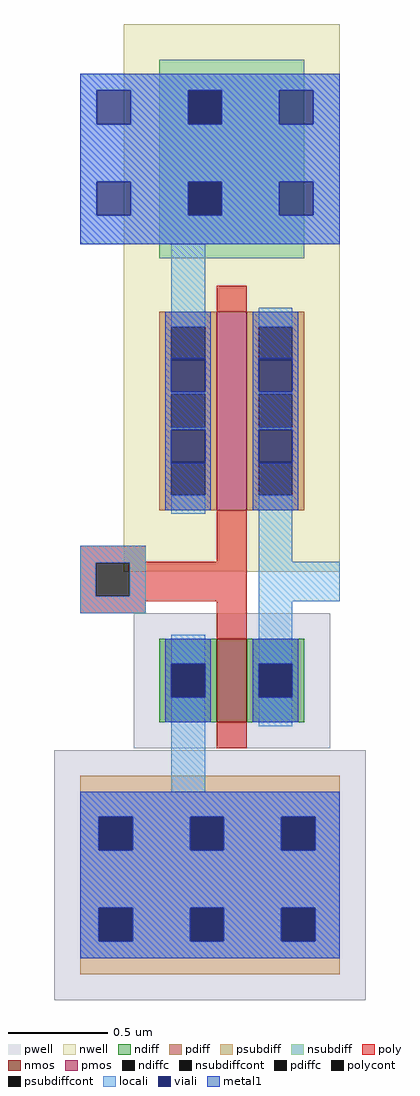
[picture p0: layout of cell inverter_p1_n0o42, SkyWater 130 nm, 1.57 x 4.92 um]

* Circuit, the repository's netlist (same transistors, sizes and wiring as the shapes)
* NGSPICE file created from inverter_p1_n0o42.ext - technology: sky130A

.subckt sky130_fd_pr__pfet_01v8_TH65V5 a_n73_n100# w_n109_n162# a_15_n100# a_n15_n126#
X0 a_15_n100# a_n15_n126# a_n73_n100# w_n109_n162# sky130_fd_pr__pfet_01v8 ad=0.29 pd=2.58 as=0.29 ps=2.58 w=1 l=0.15
.ends

.subckt sky130_fd_pr__nfet_01v8_PNPQML a_15_n42# a_n15_n68# a_n73_n42# VSUBS
X0 a_15_n42# a_n15_n68# a_n73_n42# VSUBS sky130_fd_pr__nfet_01v8 ad=0.1218 pd=1.42 as=0.1218 ps=1.42 w=0.42 l=0.15
.ends

.subckt inverter_p1_n0o42 VDPWR Vout Vin VGND
Xsky130_fd_pr__pfet_01v8_TH65V5_0 VDPWR VDPWR Vout Vin sky130_fd_pr__pfet_01v8_TH65V5
Xsky130_fd_pr__nfet_01v8_PNPQML_0 Vout Vin VGND VGND sky130_fd_pr__nfet_01v8_PNPQML
.ends

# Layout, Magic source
magic
tech sky130A
magscale 1 2
<< nwell >>
rect -36 502 182 730
rect -16 478 152 502
rect 12 444 46 478
<< pwell >>
rect -106 -254 208 -2
<< psubdiff >>
rect -80 -69 182 -28
rect -80 -103 -61 -69
rect -27 -103 31 -69
rect 65 -103 123 -69
rect 157 -103 182 -69
rect -80 -161 182 -103
rect -80 -195 -61 -161
rect -27 -195 31 -161
rect 65 -195 123 -161
rect 157 -195 182 -161
rect -80 -228 182 -195
<< nsubdiff >>
rect 0 663 146 694
rect 0 629 29 663
rect 63 629 146 663
rect 0 571 146 629
rect 0 537 29 571
rect 63 537 146 571
rect 0 494 146 537
<< psubdiffcont >>
rect -61 -103 -27 -69
rect 31 -103 65 -69
rect 123 -103 157 -69
rect -61 -195 -27 -161
rect 31 -195 65 -161
rect 123 -195 157 -161
<< nsubdiffcont >>
rect 29 629 63 663
rect 29 537 63 571
<< poly >>
rect -80 188 -14 204
rect 58 188 88 214
rect -80 187 88 188
rect -80 153 -64 187
rect -30 153 88 187
rect -80 148 88 153
rect -80 136 -14 148
rect 58 136 88 148
<< polycont >>
rect -64 153 -30 187
<< locali >>
rect -80 663 182 680
rect -80 629 -63 663
rect -29 629 29 663
rect 63 629 121 663
rect 155 629 182 663
rect -80 571 182 629
rect -80 537 -63 571
rect -29 537 29 571
rect 63 537 121 571
rect 155 537 182 571
rect -80 508 182 537
rect 12 444 46 508
rect -80 187 -14 204
rect -80 153 -64 187
rect -30 153 -14 187
rect -80 136 -14 153
rect 100 188 134 236
rect 100 148 182 188
rect 100 114 134 148
rect 12 -44 46 22
rect -80 -69 182 -44
rect -80 -103 -61 -69
rect -27 -103 31 -69
rect 65 -103 123 -69
rect 157 -103 182 -69
rect -80 -161 182 -103
rect -80 -195 -61 -161
rect -27 -195 31 -161
rect 65 -195 123 -161
rect 157 -195 182 -161
rect -80 -212 182 -195
<< viali >>
rect -63 629 -29 663
rect 29 629 63 663
rect 121 629 155 663
rect -63 537 -29 571
rect 29 537 63 571
rect 121 537 155 571
rect -61 -103 -27 -69
rect 31 -103 65 -69
rect 123 -103 157 -69
rect -61 -195 -27 -161
rect 31 -195 65 -161
rect 123 -195 157 -161
<< metal1 >>
rect -80 663 182 680
rect -80 629 -63 663
rect -29 629 29 663
rect 63 629 121 663
rect 155 629 182 663
rect -80 571 182 629
rect -80 537 -63 571
rect -29 537 29 571
rect 63 537 121 571
rect 155 537 182 571
rect -80 508 182 537
rect -80 -69 182 -44
rect -80 -103 -61 -69
rect -27 -103 31 -69
rect 65 -103 123 -69
rect 157 -103 182 -69
rect -80 -161 182 -103
rect -80 -195 -61 -161
rect -27 -195 31 -161
rect 65 -195 123 -161
rect 157 -195 182 -161
rect -80 -212 182 -195
use sky130_fd_pr__nfet_01v8_PNPQML  sky130_fd_pr__nfet_01v8_PNPQML_0
transform 1 0 73 0 1 68
box -99 -68 99 68
use sky130_fd_pr__pfet_01v8_TH65V5  sky130_fd_pr__pfet_01v8_TH65V5_0
transform 1 0 73 0 1 340
box -109 -162 109 162
<< end >>

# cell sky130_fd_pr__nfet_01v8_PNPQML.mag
magic
tech sky130A
magscale 1 2
<< pwell >>
rect -99 -68 99 68
<< nmos >>
rect -15 -42 15 42
<< ndiff >>
rect -73 17 -15 42
rect -73 -17 -61 17
rect -27 -17 -15 17
rect -73 -42 -15 -17
rect 15 17 73 42
rect 15 -17 27 17
rect 61 -17 73 17
rect 15 -42 73 -17
<< ndiffc >>
rect -61 -17 -27 17
rect 27 -17 61 17
<< poly >>
rect -15 42 15 68
rect -15 -68 15 -42
<< locali >>
rect -61 17 -27 46
rect -61 -46 -27 -17
rect 27 17 61 46
rect 27 -46 61 -17
<< viali >>
rect -61 -17 -27 17
rect 27 -17 61 17
<< metal1 >>
rect -67 17 -21 42
rect -67 -17 -61 17
rect -27 -17 -21 17
rect -67 -42 -21 -17
rect 21 17 67 42
rect 21 -17 27 17
rect 61 -17 67 17
rect 21 -42 67 -17
<< end >>

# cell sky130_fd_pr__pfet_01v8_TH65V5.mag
magic
tech sky130A
magscale 1 2
<< nwell >>
rect -109 -162 109 162
<< pmos >>
rect -15 -100 15 100
<< pdiff >>
rect -73 85 -15 100
rect -73 51 -61 85
rect -27 51 -15 85
rect -73 17 -15 51
rect -73 -17 -61 17
rect -27 -17 -15 17
rect -73 -51 -15 -17
rect -73 -85 -61 -51
rect -27 -85 -15 -51
rect -73 -100 -15 -85
rect 15 85 73 100
rect 15 51 27 85
rect 61 51 73 85
rect 15 17 73 51
rect 15 -17 27 17
rect 61 -17 73 17
rect 15 -51 73 -17
rect 15 -85 27 -51
rect 61 -85 73 -51
rect 15 -100 73 -85
<< pdiffc >>
rect -61 51 -27 85
rect -61 -17 -27 17
rect -61 -85 -27 -51
rect 27 51 61 85
rect 27 -17 61 17
rect 27 -85 61 -51
<< poly >>
rect -15 100 15 126
rect -15 -126 15 -100
<< locali >>
rect -61 85 -27 104
rect -61 17 -27 19
rect -61 -19 -27 -17
rect -61 -104 -27 -85
rect 27 85 61 104
rect 27 17 61 19
rect 27 -19 61 -17
rect 27 -104 61 -85
<< viali >>
rect -61 51 -27 53
rect -61 19 -27 51
rect -61 -51 -27 -19
rect -61 -53 -27 -51
rect 27 51 61 53
rect 27 19 61 51
rect 27 -51 61 -19
rect 27 -53 61 -51
<< metal1 >>
rect -67 53 -21 100
rect -67 19 -61 53
rect -27 19 -21 53
rect -67 -19 -21 19
rect -67 -53 -61 -19
rect -27 -53 -21 -19
rect -67 -100 -21 -53
rect 21 53 67 100
rect 21 19 27 53
rect 61 19 67 53
rect 21 -19 67 19
rect 21 -53 27 -19
rect 61 -53 67 -19
rect 21 -100 67 -53
<< end >>
